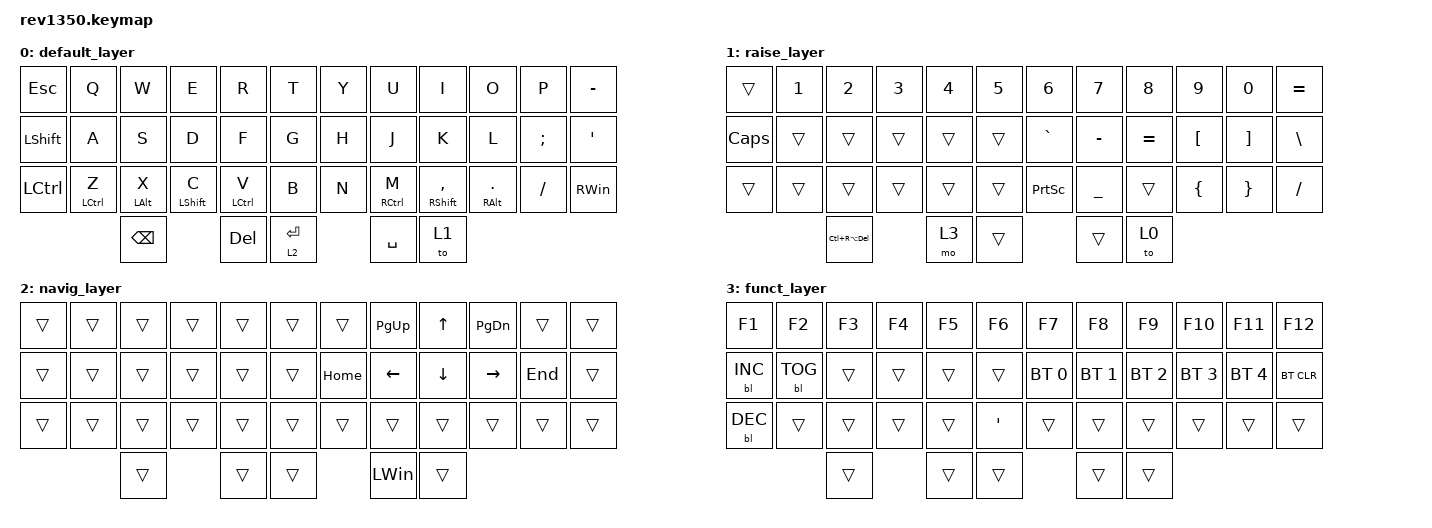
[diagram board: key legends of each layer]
/*
 * Copyright (c) 2020 The ZMK Contributors
 *
 * SPDX-License-Identifier: MIT
 */

#include <behaviors.dtsi>
#include <dt-bindings/zmk/backlight.h>
#include <dt-bindings/zmk/bt.h>
#include <dt-bindings/zmk/keys.h>

#define DEFAULT 0
#define LOWER   1
#define RAISE   2
#define NAVIG   3
#define FUNCT   4
#define ADJST   5

/ {
    behaviors {
        hm: homerow_mods {
            compatible = "zmk,behavior-hold-tap";
            label = "HOMEROW_MODS";
            #binding-cells = <2>;
            tapping-term-ms = <150>;
            quick_tap_ms = <0>;
            flavor = "tap-preferred";
            bindings =
                <&kp>,
                <&kp>;
        };
    };

    keymap {
        compatible = "zmk,keymap";

        default_layer {
            // --------------------------------------------------------------------------------------
            // |  TAB |  Q   |  W   |  E   |  R   |  T  |   |  Y  |  U   |  I   |  O   |  P  | BKSP |
            // | CTRL |  A   |  S   |  D   |  F   |  G  |   |  H  |  J   |  K   |  L   |  ;  |   '  |
            // | SHFT |CTL(Z)|ALT(X)|SFT(C)|CTL(V)|  B  |   |  N  |CTL(M)|SFT(,)|ALT(.)|  /  |RETURN|
            //                         | LGUI | LWR |  SPACE  | RSE | FUNC |

            bindings = <
      &kp ESCAPE        &kp Q       &kp W          &kp E        &kp R  &kp T                &kp Y        &kp U            &kp I         &kp O     &kp P  &kp MINUS
      &kp LSHIFT        &kp A       &kp S          &kp D        &kp F  &kp G                &kp H        &kp J            &kp K         &kp L  &kp SEMI    &kp SQT
&kp LEFT_CONTROL  &hm LCTRL Z  &hm LALT X    &hm LSHFT C  &hm LCTRL V  &kp B                &kp N  &hm RCTRL M  &hm RSHFT COMMA  &hm RALT DOT  &kp FSLH   &kp RWIN
                                           &kp BACKSPACE      &kp DEL         &lt 2 RETURN           &kp SPACE            &to 1
            >;
        };

        raise_layer {
            // -----------------------------------------------------------------------------
            // | DEL |  1  |  2  |  3  |  4  |  5  |   |  6  |  7  |  8  |  9  |  0  | DEL |
            // |     |     |     |     |     |     |   |  `  |  -  |  =  |  [  |  ]  |  \  |
            // |     |     | GUI |     |     | CAPS|   | PRSC|     |     |     |     |     |
            //                       |     | ADJ | BKSP |    |     |

            bindings = <
  &trans  &kp N1  &kp N2           &kp N3  &kp N4  &kp N5             &kp N6          &kp N7     &kp N8          &kp N9           &kp N0  &kp EQUAL
&kp CLCK  &trans  &trans           &trans  &trans  &trans          &kp GRAVE       &kp MINUS  &kp EQUAL        &kp LBKT         &kp RBKT   &kp BSLH
  &trans  &trans  &trans           &trans  &trans  &trans          &kp PSCRN  &kp UNDERSCORE     &trans  &kp LEFT_BRACE  &kp RIGHT_BRACE  &kp SLASH
                          &kp LC(RA(DEL))   &mo 3          &trans                     &trans      &to 0
            >;
        };

        navig_layer {
            // -----------------------------------------------------------------------------
            // | DEL |     |     |     |     |     |   |     |     |     |     |     | DEL |
            // |     |     |     |     |     |     |   |     |LEFT |DOWN | UP  |RIGHT|     |
            // |     |     |     |     |     |CAPS |   |     |HOME |PG-DN|PG-UP| END |     |
            //                        |     |     |     |     |     |

            bindings = <
&trans  &trans  &trans  &trans  &trans  &trans            &trans     &kp PG_UP    &kp UP  &kp PAGE_DOWN   &trans  &trans
&trans  &trans  &trans  &trans  &trans  &trans          &kp HOME      &kp LEFT  &kp DOWN      &kp RIGHT  &kp END  &trans
&trans  &trans  &trans  &trans  &trans  &trans            &trans        &trans    &trans         &trans   &trans  &trans
                        &trans  &trans          &trans            &kp LEFT_WIN    &trans
            >;
        };

        funct_layer {
            // -----------------------------------------------------------------------------
            // | DEL |     |     |     |     |     |   |     |     |     |     |     | DEL |
            // |     |     |     |     |     |     |   | F1  | F2  | F3  | F4  | F5  | F6  |
            // |     |     |     |     |     |  '  |   | F7  | F8  | F9  | F10 | F11 | F12 |
            //                        |     |     |     |     |     |

            bindings = <
    &kp F1      &kp F2  &kp F3  &kp F4  &kp F5   &kp F6                &kp F7        &kp F8        &kp F9       &kp F10       &kp F11     &kp F12
&bl BL_INC  &bl BL_TOG  &trans  &trans  &trans   &trans          &bt BT_SEL 0  &bt BT_SEL 1  &bt BT_SEL 2  &bt BT_SEL 3  &bt BT_SEL 4  &bt BT_CLR
&bl BL_DEC      &trans  &trans  &trans  &trans  &kp SQT                &trans        &trans        &trans        &trans        &trans      &trans
                                &trans  &trans           &trans                      &trans        &trans
            >;
        };
    };
};
